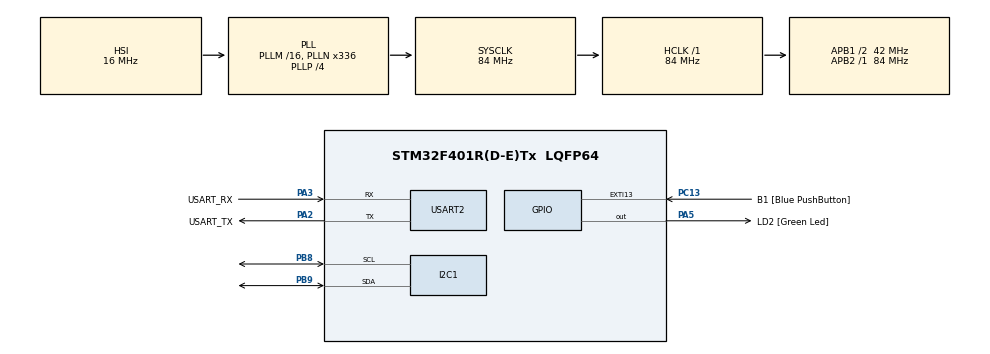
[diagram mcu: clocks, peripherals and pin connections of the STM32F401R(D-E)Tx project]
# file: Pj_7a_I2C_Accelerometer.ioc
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Mcu.Family=STM32F4
Mcu.Name=STM32F401R(D-E)Tx
Mcu.Package=LQFP64
NVIC.PriorityGroup=NVIC_PRIORITYGROUP_0
PA13.GPIO_Label=TMS
PA13.Mode=Serial_Wire
PA13.Signal=SYS_JTMS-SWDIO
PA14.GPIO_Label=TCK
PA14.Mode=Serial_Wire
PA14.Signal=SYS_JTCK-SWCLK
PA2.GPIO_Label=USART_TX
PA2.GPIO_Mode=GPIO_MODE_AF_PP
PA2.GPIO_PuPd=GPIO_NOPULL
PA2.GPIO_Speed=GPIO_SPEED_FREQ_LOW
PA2.Mode=Asynchronous
PA2.Signal=USART2_TX
PA3.GPIO_Label=USART_RX
PA3.GPIO_Mode=GPIO_MODE_AF_PP
PA3.GPIO_PuPd=GPIO_NOPULL
PA3.GPIO_Speed=GPIO_SPEED_FREQ_LOW
PA3.Mode=Asynchronous
PA3.Signal=USART2_RX
PA5.GPIO_Label=LD2 [Green Led]
PA5.GPIO_Mode=GPIO_MODE_OUTPUT_PP
PA5.GPIO_PuPd=GPIO_NOPULL
PA5.GPIO_Speed=GPIO_SPEED_FREQ_LOW
PA5.Signal=GPIO_Output
PB3.GPIO_Label=SWO
PB3.Signal=SYS_JTDO-SWO
PB8.Mode=I2C
PB8.Signal=I2C1_SCL
PB9.Mode=I2C
PB9.Signal=I2C1_SDA
PC13-ANTI_TAMP.GPIO_Label=B1 [Blue PushButton]
PC13-ANTI_TAMP.GPIO_ModeDefaultEXTI=GPIO_MODE_IT_FALLING
PC13-ANTI_TAMP.GPIO_PuPd=GPIO_NOPULL
PC13-ANTI_TAMP.Signal=GPXTI13
PC14-OSC32_IN.Mode=LSE-External-Oscillator
PC14-OSC32_IN.Signal=RCC_OSC32_IN
PC15-OSC32_OUT.Mode=LSE-External-Oscillator
PC15-OSC32_OUT.Signal=RCC_OSC32_OUT
PH0\ -\ OSC_IN.Mode=HSE-External-Clock-Source
PH0\ -\ OSC_IN.Signal=RCC_OSC_IN
PH1\ -\ OSC_OUT.Mode=HSE-External-Clock-Source
PH1\ -\ OSC_OUT.Signal=RCC_OSC_OUT
ProjectManager.HeapSize=0x200
ProjectManager.StackSize=0x400
ProjectManager.TargetToolchain=STM32CubeIDE
RCC.48MHZClocksFreq_Value=48000000
RCC.AHBFreq_Value=84000000
RCC.APB1CLKDivider=RCC_HCLK_DIV2
RCC.APB1Freq_Value=42000000
RCC.APB1TimFreq_Value=84000000
RCC.APB2Freq_Value=84000000
RCC.APB2TimFreq_Value=84000000
RCC.CortexFreq_Value=84000000
RCC.HCLKFreq_Value=84000000
RCC.HSE_VALUE=8000000
RCC.HSI_VALUE=16000000
RCC.PLLN=336
RCC.PLLP=RCC_PLLP_DIV4
RCC.PLLQ=7
RCC.SYSCLKFreq_VALUE=84000000
RCC.SYSCLKSource=RCC_SYSCLKSOURCE_PLLCLK
RCC.VCOOutputFreq_Value=336000000
USART2.VirtualMode=VM_ASYNC
board=NUCLEO-F401RE

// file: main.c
/* USER CODE BEGIN Header */
/**
  ******************************************************************************
  * @file           : main.c
  * @brief          : Main program body
  ******************************************************************************
  * @attention
  *
  * Copyright (c) 2024 STMicroelectronics.
  * All rights reserved.
  *
  * This software is licensed under terms that can be found in the LICENSE file
  * in the root directory of this software component.
  * If no LICENSE file comes with this software, it is provided AS-IS.
  *
  ******************************************************************************
  */
/* USER CODE END Header */
#include "main.h"

/* USER CODE BEGIN Includes */

#include "stdio.h"
#include "string.h"

/* USER CODE END Includes */

I2C_HandleTypeDef hi2c1;

UART_HandleTypeDef huart2;

/* USER CODE BEGIN PV */

uint8_t LIS2DE_ADDRESS = 0b01010000;
uint8_t LIS2DE12_ADDRESS = 0b00110000;
// 					 indirizzo, registro
uint8_t CTRL_REG1[] = {0x20, 0b00010111}; //0001 -> 1Hz rate , 0 -> normal power mode , 111 -> x,y,z axis enabled
uint8_t CTRL_REG2[] = {0x21, 0b00000000}; //filter disabled (=> I feel ground acceleration) (NB: di default è già così)
uint8_t CTRL_REG4[] = {0x23, 0b00000000}; //per settare FSR = +/-2g (NB: di default è già così)

uint8_t OUT_X_ADDRESS = 0x29;
uint8_t OUT_Y_ADDRESS = 0x2B;
uint8_t OUT_Z_ADDRESS = 0x2D;

/* USER CODE END PV */

void SystemClock_Config(void);
static void MX_GPIO_Init(void);
static void MX_USART2_UART_Init(void);
static void MX_I2C1_Init(void);

int main(void)
{

  /* MCU Configuration--------------------------------------------------------*/

  /* Reset of all peripherals, Initializes the Flash interface and the Systick. */
  HAL_Init();

  /* Configure the system clock */
  SystemClock_Config();

  /* Initialize all configured peripherals */
  MX_GPIO_Init();
  MX_USART2_UART_Init();
  MX_I2C1_Init();
  /* USER CODE BEGIN 2 */

  char string[64];
  int length = 0;

  if(HAL_I2C_Master_Transmit(&hi2c1, LIS2DE_ADDRESS, CTRL_REG1, sizeof(CTRL_REG1), 50) == HAL_OK){
  	length = snprintf(string, sizeof(string), "Il sensore è LIS2DE\n");
  }else if(HAL_I2C_Master_Transmit(&hi2c1, LIS2DE12_ADDRESS, CTRL_REG1, sizeof(CTRL_REG1), 50) == HAL_OK){
	  length = snprintf(string, sizeof(string), "Il sensore è LIS2DE12\n");
  }else{
	  length = snprintf(string, sizeof(string), "Errore\n");
  }

  HAL_UART_Transmit(&huart2, string, length, 100);

  HAL_I2C_Master_Transmit(&hi2c1, LIS2DE_ADDRESS, CTRL_REG2, sizeof(CTRL_REG2), 50);
  HAL_I2C_Master_Transmit(&hi2c1, LIS2DE_ADDRESS, CTRL_REG4, sizeof(CTRL_REG4), 50);

  /* USER CODE END 2 */

  /* Infinite loop */
  /* USER CODE BEGIN WHILE */
  while (1)
  {
	  //Get x
	  int8_t acc_x = 0;
	  HAL_I2C_Master_Transmit(&hi2c1, LIS2DE_ADDRESS, &OUT_X_ADDRESS, 1, 50);
	  HAL_I2C_Master_Receive(&hi2c1, LIS2DE_ADDRESS+1, &acc_x, 1, 50);

	  //Get y
	  int8_t acc_y = 0;
	  HAL_I2C_Master_Transmit(&hi2c1, LIS2DE_ADDRESS, &OUT_Y_ADDRESS, 1, 50);
	  HAL_I2C_Master_Receive(&hi2c1, LIS2DE_ADDRESS+1, &acc_y, 1, 50);

	  //Get z
	  int8_t acc_z = 0;
	  HAL_I2C_Master_Transmit(&hi2c1, LIS2DE_ADDRESS, &OUT_Z_ADDRESS, 1, 50);
	  HAL_I2C_Master_Receive(&hi2c1, LIS2DE_ADDRESS+1, &acc_z, 1, 50);

	  float acc_g_x = acc_x / 64.0; //sensitivity = 4/256 = 1/64
	  float acc_g_y = acc_y / 64.0;
	  float acc_g_z = acc_z / 64.0;

	  length = snprintf(string, sizeof(string), "X: %+.2f g\r\nY: %+.2f g\r\nZ: %+.2f g\r\n\r\n", acc_g_x, acc_g_y, acc_g_z);

	  HAL_UART_Transmit(&huart2, string, length, 100);
	  HAL_Delay(1000);

    /* USER CODE END WHILE */

  }
}

void SystemClock_Config(void)
{
  RCC_OscInitTypeDef RCC_OscInitStruct = {0};
  RCC_ClkInitTypeDef RCC_ClkInitStruct = {0};

  /** Configure the main internal regulator output voltage
  */
  __HAL_RCC_PWR_CLK_ENABLE();
  __HAL_PWR_VOLTAGESCALING_CONFIG(PWR_REGULATOR_VOLTAGE_SCALE2);

  /** Initializes the RCC Oscillators according to the specified parameters
  * in the RCC_OscInitTypeDef structure.
  */
  RCC_OscInitStruct.OscillatorType = RCC_OSCILLATORTYPE_HSI;
  RCC_OscInitStruct.HSIState = RCC_HSI_ON;
  RCC_OscInitStruct.HSICalibrationValue = RCC_HSICALIBRATION_DEFAULT;
  RCC_OscInitStruct.PLL.PLLState = RCC_PLL_ON;
  RCC_OscInitStruct.PLL.PLLSource = RCC_PLLSOURCE_HSI;
  RCC_OscInitStruct.PLL.PLLM = 16;
  RCC_OscInitStruct.PLL.PLLN = 336;
  RCC_OscInitStruct.PLL.PLLP = RCC_PLLP_DIV4;
  RCC_OscInitStruct.PLL.PLLQ = 7;
  if (HAL_RCC_OscConfig(&RCC_OscInitStruct) != HAL_OK)
  {
    Error_Handler();
  }

  /** Initializes the CPU, AHB and APB buses clocks
  */
  RCC_ClkInitStruct.ClockType = RCC_CLOCKTYPE_HCLK|RCC_CLOCKTYPE_SYSCLK
                              |RCC_CLOCKTYPE_PCLK1|RCC_CLOCKTYPE_PCLK2;
  RCC_ClkInitStruct.SYSCLKSource = RCC_SYSCLKSOURCE_PLLCLK;
  RCC_ClkInitStruct.AHBCLKDivider = RCC_SYSCLK_DIV1;
  RCC_ClkInitStruct.APB1CLKDivider = RCC_HCLK_DIV2;
  RCC_ClkInitStruct.APB2CLKDivider = RCC_HCLK_DIV1;

  if (HAL_RCC_ClockConfig(&RCC_ClkInitStruct, FLASH_LATENCY_2) != HAL_OK)
  {
    Error_Handler();
  }
}

static void MX_I2C1_Init(void)
{

  hi2c1.Instance = I2C1;
  hi2c1.Init.ClockSpeed = 100000;
  hi2c1.Init.DutyCycle = I2C_DUTYCYCLE_2;
  hi2c1.Init.OwnAddress1 = 0;
  hi2c1.Init.AddressingMode = I2C_ADDRESSINGMODE_7BIT;
  hi2c1.Init.DualAddressMode = I2C_DUALADDRESS_DISABLE;
  hi2c1.Init.OwnAddress2 = 0;
  hi2c1.Init.GeneralCallMode = I2C_GENERALCALL_DISABLE;
  hi2c1.Init.NoStretchMode = I2C_NOSTRETCH_DISABLE;
  if (HAL_I2C_Init(&hi2c1) != HAL_OK)
  {
    Error_Handler();
  }

}

static void MX_USART2_UART_Init(void)
{

  huart2.Instance = USART2;
  huart2.Init.BaudRate = 115200;
  huart2.Init.WordLength = UART_WORDLENGTH_8B;
  huart2.Init.StopBits = UART_STOPBITS_1;
  huart2.Init.Parity = UART_PARITY_NONE;
  huart2.Init.Mode = UART_MODE_TX_RX;
  huart2.Init.HwFlowCtl = UART_HWCONTROL_NONE;
  huart2.Init.OverSampling = UART_OVERSAMPLING_16;
  if (HAL_UART_Init(&huart2) != HAL_OK)
  {
    Error_Handler();
  }

}

static void MX_GPIO_Init(void)
{
  GPIO_InitTypeDef GPIO_InitStruct = {0};

  /* GPIO Ports Clock Enable */
  __HAL_RCC_GPIOC_CLK_ENABLE();
  __HAL_RCC_GPIOH_CLK_ENABLE();
  __HAL_RCC_GPIOA_CLK_ENABLE();
  __HAL_RCC_GPIOB_CLK_ENABLE();

  /*Configure GPIO pin Output Level */
  HAL_GPIO_WritePin(LD2_GPIO_Port, LD2_Pin, GPIO_PIN_RESET);

  /*Configure GPIO pin : B1_Pin */
  GPIO_InitStruct.Pin = B1_Pin;
  GPIO_InitStruct.Mode = GPIO_MODE_IT_FALLING;
  GPIO_InitStruct.Pull = GPIO_NOPULL;
  HAL_GPIO_Init(B1_GPIO_Port, &GPIO_InitStruct);

  /*Configure GPIO pin : LD2_Pin */
  GPIO_InitStruct.Pin = LD2_Pin;
  GPIO_InitStruct.Mode = GPIO_MODE_OUTPUT_PP;
  GPIO_InitStruct.Pull = GPIO_NOPULL;
  GPIO_InitStruct.Speed = GPIO_SPEED_FREQ_LOW;
  HAL_GPIO_Init(LD2_GPIO_Port, &GPIO_InitStruct);

}

void Error_Handler(void)
{
  __disable_irq();
  while (1)
  {
  }
}
